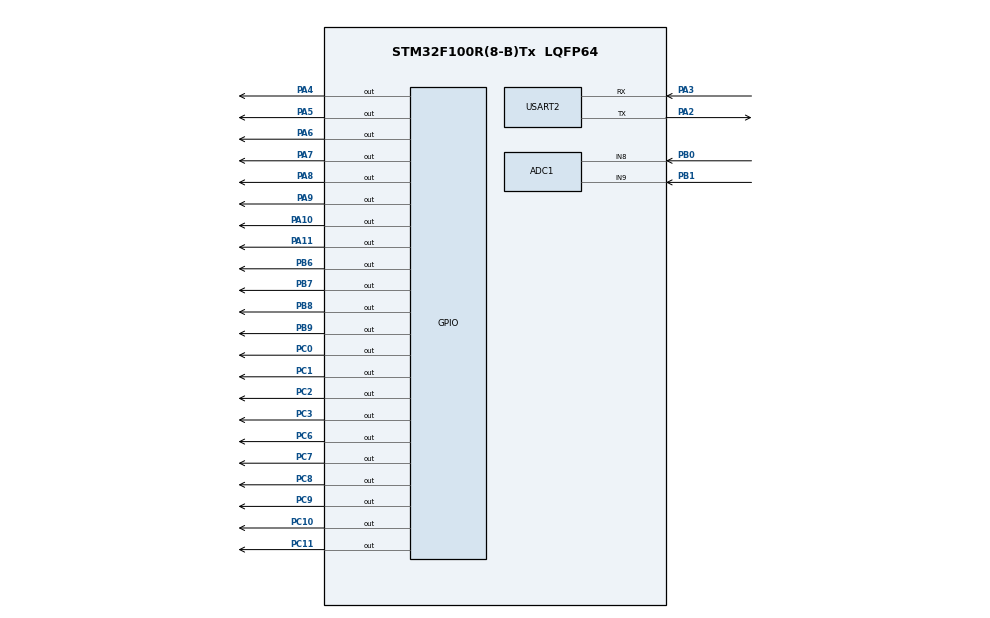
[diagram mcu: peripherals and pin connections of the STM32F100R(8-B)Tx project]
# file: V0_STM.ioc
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ADC1.Channel-0\#ChannelRegularConversion=ADC_CHANNEL_8
ADC1.Channel-1\#ChannelRegularConversion=ADC_CHANNEL_9
ADC1.ContinuousConvMode=ENABLE
ADC1.NbrOfConversion=2
ADC1.NbrOfConversionFlag=1
ADC1.Rank-0\#ChannelRegularConversion=1
ADC1.Rank-1\#ChannelRegularConversion=2
ADC1.SamplingTime-0\#ChannelRegularConversion=ADC_SAMPLETIME_1CYCLE_5
ADC1.SamplingTime-1\#ChannelRegularConversion=ADC_SAMPLETIME_1CYCLE_5
ADC1.master=1
Dma.Request0=USART2_RX
Dma.USART2_RX.0.Direction=DMA_PERIPH_TO_MEMORY
Dma.USART2_RX.0.Instance=DMA1_Channel6
Dma.USART2_RX.0.MemDataAlignment=DMA_MDATAALIGN_BYTE
Dma.USART2_RX.0.MemInc=DMA_MINC_ENABLE
Dma.USART2_RX.0.Mode=DMA_CIRCULAR
Dma.USART2_RX.0.PeriphDataAlignment=DMA_PDATAALIGN_BYTE
Dma.USART2_RX.0.PeriphInc=DMA_PINC_DISABLE
Dma.USART2_RX.0.Priority=DMA_PRIORITY_LOW
Mcu.Family=STM32F1
Mcu.Name=STM32F100R(8-B)Tx
Mcu.Package=LQFP64
NVIC.DMA1_Channel6_IRQn=true\:0\:0\:false\:false\:true\:false
NVIC.PriorityGroup=NVIC_PRIORITYGROUP_4
NVIC.TIM1_BRK_TIM15_IRQn=true\:0\:0\:false\:false\:true\:true
NVIC.TIM2_IRQn=true\:0\:0\:false\:false\:true\:true
NVIC.TIM3_IRQn=true\:0\:0\:false\:false\:true\:true
PA10.Signal=GPIO_Output
PA11.Signal=GPIO_Output
PA2.Mode=Asynchronous
PA2.Signal=USART2_TX
PA3.Mode=Asynchronous
PA3.Signal=USART2_RX
PA4.Signal=GPIO_Output
PA5.Signal=GPIO_Output
PA6.Signal=GPIO_Output
PA7.Signal=GPIO_Output
PA8.Signal=GPIO_Output
PA9.Signal=GPIO_Output
PB0.Signal=ADCx_IN8
PB1.Signal=ADCx_IN9
PB13.Signal=USART3_CTS
PB6.Signal=GPIO_Output
PB7.Signal=GPIO_Output
PB8.Signal=GPIO_Output
PB9.Signal=GPIO_Output
PC0.Signal=GPIO_Output
PC1.Signal=GPIO_Output
PC10.Signal=GPIO_Output
PC11.Signal=GPIO_Output
PC2.Signal=GPIO_Output
PC3.Signal=GPIO_Output
PC6.Signal=GPIO_Output
PC7.Signal=GPIO_Output
PC8.Signal=GPIO_Output
PC9.Signal=GPIO_Output
ProjectManager.HeapSize=0x200
ProjectManager.StackSize=0x400
ProjectManager.TargetToolchain=Makefile
RCC.APB1Freq_Value=8000000
RCC.APB2Freq_Value=8000000
SH.ADCx_IN8.0=ADC1_IN8,IN8
SH.ADCx_IN9.0=ADC1_IN9,IN9
TIM15.Period=20000
TIM15.Prescaler=8
TIM2.Period=100
TIM2.Prescaler=8
TIM3.Period=100
TIM3.Prescaler=8
USART2.VirtualMode=VM_ASYNC
VP_SYS_VS_ND.Mode=No_Debug
VP_TIM15_VS_ClockSourceINT.Mode=Internal
VP_TIM2_VS_ClockSourceINT.Mode=Internal
VP_TIM3_VS_ClockSourceINT.Mode=Internal
board=V0_STM

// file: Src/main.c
/**
  ******************************************************************************
  * File Name          : main.c
  * Description        : Main program body
  ******************************************************************************
  ** This notice applies to any and all portions of this file
  * that are not between comment pairs USER CODE BEGIN and
  * USER CODE END. Other portions of this file, whether
  * inserted by the user or by software development tools
  * are owned by their respective copyright owners.
  *
  * COPYRIGHT(c) 2018 STMicroelectronics
  *
  * Redistribution and use in source and binary forms, with or without modification,
  * are permitted provided that the following conditions are met:
  *   1. Redistributions of source code must retain the above copyright notice,
  *      this list of conditions and the following disclaimer.
  *   2. Redistributions in binary form must reproduce the above copyright notice,
  *      this list of conditions and the following disclaimer in the documentation
  *      and/or other materials provided with the distribution.
  *   3. Neither the name of STMicroelectronics nor the names of its contributors
  *      may be used to endorse or promote products derived from this software
  *      without specific prior written permission.
  *
  * THIS SOFTWARE IS PROVIDED BY THE COPYRIGHT HOLDERS AND CONTRIBUTORS "AS IS"
  * AND ANY EXPRESS OR IMPLIED WARRANTIES, INCLUDING, BUT NOT LIMITED TO, THE
  * IMPLIED WARRANTIES OF MERCHANTABILITY AND FITNESS FOR A PARTICULAR PURPOSE ARE
  * DISCLAIMED. IN NO EVENT SHALL THE COPYRIGHT HOLDER OR CONTRIBUTORS BE LIABLE
  * FOR ANY DIRECT, INDIRECT, INCIDENTAL, SPECIAL, EXEMPLARY, OR CONSEQUENTIAL
  * DAMAGES (INCLUDING, BUT NOT LIMITED TO, PROCUREMENT OF SUBSTITUTE GOODS OR
  * SERVICES; LOSS OF USE, DATA, OR PROFITS; OR BUSINESS INTERRUPTION) HOWEVER
  * CAUSED AND ON ANY THEORY OF LIABILITY, WHETHER IN CONTRACT, STRICT LIABILITY,
  * OR TORT (INCLUDING NEGLIGENCE OR OTHERWISE) ARISING IN ANY WAY OUT OF THE USE
  * OF THIS SOFTWARE, EVEN IF ADVISED OF THE POSSIBILITY OF SUCH DAMAGE.
  *
  ******************************************************************************
  */

#include "main.h"
#include "stm32f1xx_hal.h"

/* USER CODE BEGIN Includes */
#include "config.h"
#include "DriverControl.h"
#include "SendMessage.h"
#include <stdio.h>
#include "string.h"
#include "init.h"
#include "global_variables.h"
#include "CRC.h"
#include "steps.h"
#include "gcode.h"

/* USER CODE END Includes */

ADC_HandleTypeDef hadc1;

TIM_HandleTypeDef htim2;
TIM_HandleTypeDef htim3;
TIM_HandleTypeDef htim15;

UART_HandleTypeDef huart2;
DMA_HandleTypeDef hdma_usart2_rx;

/* USER CODE BEGIN PV */
/* Private variables ---------------------------------------------------------*/

/* USER CODE END PV */

void SystemClock_Config(void);
static void MX_GPIO_Init(void);
static void MX_DMA_Init(void);
static void MX_USART2_UART_Init(void);
static void MX_TIM2_Init(void);
static void MX_TIM3_Init(void);
static void MX_TIM15_Init(void);
static void MX_ADC1_Init(void);

/* USER CODE BEGIN PFP */
/* Private function prototypes -----------------------------------------------*/

/* USER CODE END PFP */

/* USER CODE BEGIN 0 */
uint8_t rxBuffer = '\0';
/* USER CODE END 0 */

int main(void)
{

  /* MCU Configuration----------------------------------------------------------*/

  /* Reset of all peripherals, Initializes the Flash interface and the Systick. */
  HAL_Init();

  /* Configure the system clock */
  SystemClock_Config();

  /* Initialize all configured peripherals */
  MX_GPIO_Init();
  MX_DMA_Init();
  MX_USART2_UART_Init();
  MX_TIM2_Init();
  MX_TIM3_Init();
  MX_TIM15_Init();
  MX_ADC1_Init();

  /* USER CODE BEGIN 2 */
  //char dataBuffer[BUFFER_LENGTH];
  //uint8_t recieveBuffer[BUFFER_LENGTH];
  HAL_TIM_Base_Start_IT(&htim2);
  HAL_TIM_Base_Start_IT(&htim3);
  HAL_TIM_Base_Start_IT(&htim15);
  HAL_UART_Receive_DMA(&huart2, (uint8_t *)&rxBuffer, 1);

  /* USER CODE END 2 */

  /* Infinite loop */
  /* USER CODE BEGIN WHILE */
  //volatile int i=0;
  //volatile int j=0;
  //volatile int fl = 1;
  while (1)
  {

  /* USER CODE END WHILE */

  }

}

/** System Clock Configuration
*/
void SystemClock_Config(void)
{

  RCC_OscInitTypeDef RCC_OscInitStruct;
  RCC_ClkInitTypeDef RCC_ClkInitStruct;
  RCC_PeriphCLKInitTypeDef PeriphClkInit;

    /**Initializes the CPU, AHB and APB busses clocks
    */
  RCC_OscInitStruct.OscillatorType = RCC_OSCILLATORTYPE_HSI;
  RCC_OscInitStruct.HSIState = RCC_HSI_ON;
  RCC_OscInitStruct.HSICalibrationValue = 16;
  RCC_OscInitStruct.PLL.PLLState = RCC_PLL_NONE;
  if (HAL_RCC_OscConfig(&RCC_OscInitStruct) != HAL_OK)
  {
    _Error_Handler(__FILE__, __LINE__);
  }

    /**Initializes the CPU, AHB and APB busses clocks
    */
  RCC_ClkInitStruct.ClockType = RCC_CLOCKTYPE_HCLK|RCC_CLOCKTYPE_SYSCLK
                              |RCC_CLOCKTYPE_PCLK1|RCC_CLOCKTYPE_PCLK2;
  RCC_ClkInitStruct.SYSCLKSource = RCC_SYSCLKSOURCE_HSI;
  RCC_ClkInitStruct.AHBCLKDivider = RCC_SYSCLK_DIV1;
  RCC_ClkInitStruct.APB1CLKDivider = RCC_HCLK_DIV1;
  RCC_ClkInitStruct.APB2CLKDivider = RCC_HCLK_DIV1;

  if (HAL_RCC_ClockConfig(&RCC_ClkInitStruct, FLASH_LATENCY_0) != HAL_OK)
  {
    _Error_Handler(__FILE__, __LINE__);
  }

  PeriphClkInit.PeriphClockSelection = RCC_PERIPHCLK_ADC;
  PeriphClkInit.AdcClockSelection = RCC_ADCPCLK2_DIV2;
  if (HAL_RCCEx_PeriphCLKConfig(&PeriphClkInit) != HAL_OK)
  {
    _Error_Handler(__FILE__, __LINE__);
  }

    /**Configure the Systick interrupt time
    */
  HAL_SYSTICK_Config(HAL_RCC_GetHCLKFreq()/1000);

    /**Configure the Systick
    */
  HAL_SYSTICK_CLKSourceConfig(SYSTICK_CLKSOURCE_HCLK);

  /* SysTick_IRQn interrupt configuration */
  HAL_NVIC_SetPriority(SysTick_IRQn, 0, 0);
}

/* ADC1 init function */
static void MX_ADC1_Init(void)
{

  ADC_ChannelConfTypeDef sConfig;

    /**Common config
    */
  hadc1.Instance = ADC1;
  hadc1.Init.ScanConvMode = ADC_SCAN_ENABLE;
  hadc1.Init.ContinuousConvMode = ENABLE;
  hadc1.Init.DiscontinuousConvMode = DISABLE;
  hadc1.Init.ExternalTrigConv = ADC_SOFTWARE_START;
  hadc1.Init.DataAlign = ADC_DATAALIGN_RIGHT;
  hadc1.Init.NbrOfConversion = 2;
  if (HAL_ADC_Init(&hadc1) != HAL_OK)
  {
    _Error_Handler(__FILE__, __LINE__);
  }

    /**Configure Regular Channel
    */
  sConfig.Channel = ADC_CHANNEL_8;
  sConfig.Rank = 1;
  sConfig.SamplingTime = ADC_SAMPLETIME_1CYCLE_5;
  if (HAL_ADC_ConfigChannel(&hadc1, &sConfig) != HAL_OK)
  {
    _Error_Handler(__FILE__, __LINE__);
  }

    /**Configure Regular Channel
    */
  sConfig.Channel = ADC_CHANNEL_9;
  sConfig.Rank = 2;
  if (HAL_ADC_ConfigChannel(&hadc1, &sConfig) != HAL_OK)
  {
    _Error_Handler(__FILE__, __LINE__);
  }

}

/* TIM2 init function */
static void MX_TIM2_Init(void)
{

  TIM_ClockConfigTypeDef sClockSourceConfig;
  TIM_MasterConfigTypeDef sMasterConfig;

  htim2.Instance = TIM2;
  htim2.Init.Prescaler = 8;
  htim2.Init.CounterMode = TIM_COUNTERMODE_UP;
  htim2.Init.Period = 100;
  htim2.Init.ClockDivision = TIM_CLOCKDIVISION_DIV1;
  htim2.Init.AutoReloadPreload = TIM_AUTORELOAD_PRELOAD_DISABLE;
  if (HAL_TIM_Base_Init(&htim2) != HAL_OK)
  {
    _Error_Handler(__FILE__, __LINE__);
  }

  sClockSourceConfig.ClockSource = TIM_CLOCKSOURCE_INTERNAL;
  if (HAL_TIM_ConfigClockSource(&htim2, &sClockSourceConfig) != HAL_OK)
  {
    _Error_Handler(__FILE__, __LINE__);
  }

  sMasterConfig.MasterOutputTrigger = TIM_TRGO_RESET;
  sMasterConfig.MasterSlaveMode = TIM_MASTERSLAVEMODE_DISABLE;
  if (HAL_TIMEx_MasterConfigSynchronization(&htim2, &sMasterConfig) != HAL_OK)
  {
    _Error_Handler(__FILE__, __LINE__);
  }

}

/* TIM3 init function */
static void MX_TIM3_Init(void)
{

  TIM_ClockConfigTypeDef sClockSourceConfig;
  TIM_MasterConfigTypeDef sMasterConfig;

  htim3.Instance = TIM3;
  htim3.Init.Prescaler = 8;
  htim3.Init.CounterMode = TIM_COUNTERMODE_UP;
  htim3.Init.Period = 100;
  htim3.Init.ClockDivision = TIM_CLOCKDIVISION_DIV1;
  htim3.Init.AutoReloadPreload = TIM_AUTORELOAD_PRELOAD_DISABLE;
  if (HAL_TIM_Base_Init(&htim3) != HAL_OK)
  {
    _Error_Handler(__FILE__, __LINE__);
  }

  sClockSourceConfig.ClockSource = TIM_CLOCKSOURCE_INTERNAL;
  if (HAL_TIM_ConfigClockSource(&htim3, &sClockSourceConfig) != HAL_OK)
  {
    _Error_Handler(__FILE__, __LINE__);
  }

  sMasterConfig.MasterOutputTrigger = TIM_TRGO_RESET;
  sMasterConfig.MasterSlaveMode = TIM_MASTERSLAVEMODE_DISABLE;
  if (HAL_TIMEx_MasterConfigSynchronization(&htim3, &sMasterConfig) != HAL_OK)
  {
    _Error_Handler(__FILE__, __LINE__);
  }

}

/* TIM15 init function */
static void MX_TIM15_Init(void)
{

  TIM_ClockConfigTypeDef sClockSourceConfig;
  TIM_MasterConfigTypeDef sMasterConfig;

  htim15.Instance = TIM15;
  htim15.Init.Prescaler = 8;
  htim15.Init.CounterMode = TIM_COUNTERMODE_UP;
  htim15.Init.Period = 20000;
  htim15.Init.ClockDivision = TIM_CLOCKDIVISION_DIV1;
  htim15.Init.RepetitionCounter = 0;
  htim15.Init.AutoReloadPreload = TIM_AUTORELOAD_PRELOAD_DISABLE;
  if (HAL_TIM_Base_Init(&htim15) != HAL_OK)
  {
    _Error_Handler(__FILE__, __LINE__);
  }

  sClockSourceConfig.ClockSource = TIM_CLOCKSOURCE_INTERNAL;
  if (HAL_TIM_ConfigClockSource(&htim15, &sClockSourceConfig) != HAL_OK)
  {
    _Error_Handler(__FILE__, __LINE__);
  }

  sMasterConfig.MasterOutputTrigger = TIM_TRGO_RESET;
  sMasterConfig.MasterSlaveMode = TIM_MASTERSLAVEMODE_DISABLE;
  if (HAL_TIMEx_MasterConfigSynchronization(&htim15, &sMasterConfig) != HAL_OK)
  {
    _Error_Handler(__FILE__, __LINE__);
  }

}

/* USART2 init function */
static void MX_USART2_UART_Init(void)
{

  huart2.Instance = USART2;
  huart2.Init.BaudRate = 115200;
  huart2.Init.WordLength = UART_WORDLENGTH_8B;
  huart2.Init.StopBits = UART_STOPBITS_1;
  huart2.Init.Parity = UART_PARITY_NONE;
  huart2.Init.Mode = UART_MODE_TX_RX;
  huart2.Init.HwFlowCtl = UART_HWCONTROL_NONE;
  huart2.Init.OverSampling = UART_OVERSAMPLING_16;
  if (HAL_UART_Init(&huart2) != HAL_OK)
  {
    _Error_Handler(__FILE__, __LINE__);
  }

}

static void MX_DMA_Init(void)
{
  /* DMA controller clock enable */
  __HAL_RCC_DMA1_CLK_ENABLE();

  /* DMA interrupt init */
  /* DMA1_Channel6_IRQn interrupt configuration */
  HAL_NVIC_SetPriority(DMA1_Channel6_IRQn, 0, 0);
  HAL_NVIC_EnableIRQ(DMA1_Channel6_IRQn);

}

/** Configure pins as
        * Analog
        * Input
        * Output
        * EVENT_OUT
        * EXTI
     PB13   ------> USART3_CTS
*/
static void MX_GPIO_Init(void)
{

  GPIO_InitTypeDef GPIO_InitStruct;

  /* GPIO Ports Clock Enable */
  __HAL_RCC_GPIOC_CLK_ENABLE();
  __HAL_RCC_GPIOA_CLK_ENABLE();
  __HAL_RCC_GPIOB_CLK_ENABLE();

  /*Configure GPIO pin Output Level */
  HAL_GPIO_WritePin(GPIOC, GPIO_PIN_0|GPIO_PIN_1|GPIO_PIN_2|GPIO_PIN_3
                          |GPIO_PIN_6|GPIO_PIN_7|GPIO_PIN_8|GPIO_PIN_9
                          |GPIO_PIN_10|GPIO_PIN_11, GPIO_PIN_RESET);

  /*Configure GPIO pin Output Level */
  HAL_GPIO_WritePin(GPIOA, GPIO_PIN_4|GPIO_PIN_5|GPIO_PIN_6|GPIO_PIN_7
                          |GPIO_PIN_8|GPIO_PIN_9|GPIO_PIN_10|GPIO_PIN_11, GPIO_PIN_RESET);

  /*Configure GPIO pin Output Level */
  HAL_GPIO_WritePin(GPIOB, GPIO_PIN_6|GPIO_PIN_7|GPIO_PIN_8|GPIO_PIN_9, GPIO_PIN_RESET);

  /*Configure GPIO pins : PC0 PC1 PC2 PC3
                           PC6 PC7 PC8 PC9
                           PC10 PC11 */
  GPIO_InitStruct.Pin = GPIO_PIN_0|GPIO_PIN_1|GPIO_PIN_2|GPIO_PIN_3
                          |GPIO_PIN_6|GPIO_PIN_7|GPIO_PIN_8|GPIO_PIN_9
                          |GPIO_PIN_10|GPIO_PIN_11;
  GPIO_InitStruct.Mode = GPIO_MODE_OUTPUT_PP;
  GPIO_InitStruct.Speed = GPIO_SPEED_FREQ_LOW;
  HAL_GPIO_Init(GPIOC, &GPIO_InitStruct);

  /*Configure GPIO pins : PA4 PA5 PA6 PA7
                           PA8 PA9 PA10 PA11 */
  GPIO_InitStruct.Pin = GPIO_PIN_4|GPIO_PIN_5|GPIO_PIN_6|GPIO_PIN_7
                          |GPIO_PIN_8|GPIO_PIN_9|GPIO_PIN_10|GPIO_PIN_11;
  GPIO_InitStruct.Mode = GPIO_MODE_OUTPUT_PP;
  GPIO_InitStruct.Speed = GPIO_SPEED_FREQ_LOW;
  HAL_GPIO_Init(GPIOA, &GPIO_InitStruct);

  /*Configure GPIO pin : PB13 */
  GPIO_InitStruct.Pin = GPIO_PIN_13;
  GPIO_InitStruct.Mode = GPIO_MODE_INPUT;
  GPIO_InitStruct.Pull = GPIO_NOPULL;
  HAL_GPIO_Init(GPIOB, &GPIO_InitStruct);

  /*Configure GPIO pins : PB6 PB7 PB8 PB9 */
  GPIO_InitStruct.Pin = GPIO_PIN_6|GPIO_PIN_7|GPIO_PIN_8|GPIO_PIN_9;
  GPIO_InitStruct.Mode = GPIO_MODE_OUTPUT_PP;
  GPIO_InitStruct.Speed = GPIO_SPEED_FREQ_LOW;
  HAL_GPIO_Init(GPIOB, &GPIO_InitStruct);

}

/* USER CODE BEGIN 4 */
void HAL_UART_RxCpltCallback(UART_HandleTypeDef *huart)
{

  static uint16_t k = 0;
  static uint8_t buffer[BUFFER_LENGTH];
  //static uint8_t bufferSwap[BUFFER_LENGTH];
  static uint8_t mode = 0;

  /*
    Read charter
  */
  uint8_t charter = rxBuffer;
  /*
    Check line ending
  */
  if ((charter != '\n') && (charter != '\r')){
    /*
      Fill the buffer
    */
    if (charter == ';'){
      mode |= WAS_COMMENT;
    }
    if (k < BUFFER_LENGTH){
      if (!(mode & WAS_COMMENT)){
        buffer[k] = charter;
        k++;
      }
    }else{
      /*
        If overfollow occured
      */
      mode |= WAS_OVERFOLLOW;
    }
  }else{
    buffer[k] = charter;
    if (!(mode & WAS_OVERFOLLOW)){
      /*
        If there wasn`t overfollow
      */

      /*
        Clear the buffer before analyzing
      */
      /*
      for (k = 0; k < BUFFER_LENGTH; k++){
        bufferSwap[k]=buffer[k];
        buffer[k] = 0;
      }
      */
      /*
        The command have been arrived.
        Lets analyze it!
      */
      if ( ((state0 & CRC_CHECK_ENABLED) && checkCRC(buffer)) || !(state0 & CRC_CHECK_ENABLED) ){

        AnalyzeCommand(buffer);
        //HAL_UART_Transmit(&huart2, (uint8_t *)buffer, k, HAL_MAX_DELAY);
        //sendStaicMessage(buffer);
        //sendCharter(105);
        /*
          Clear the buffer after analyzing
        */
        for (k = 0; k < BUFFER_LENGTH; k++){
          buffer[k] = 0;
        }
      }else{
        sendStaicMessage(ERROR_CHECKSUM_FAILED);
      }
      mode = 0;
      k = 0;
    }else{
      /*
        Send error message if the buffer was overfollowed
      */
      sendStaicMessage(ERROR_BUFFER_OVERFOLLOW);
      /*
        Clear the buffer, ignore content
      */
      for (k = 0; k < BUFFER_LENGTH; k++){
        buffer[k] = 0;
      }
      k = 0;
      /*
        Wait for next command
      */
      mode = 0;
    }
  }

}
/* USER CODE END 4 */

void _Error_Handler(char * file, int line)
{
  while(1)
  {
  }
}

/************************ (C) COPYRIGHT STMicroelectronics *****END OF FILE****/
